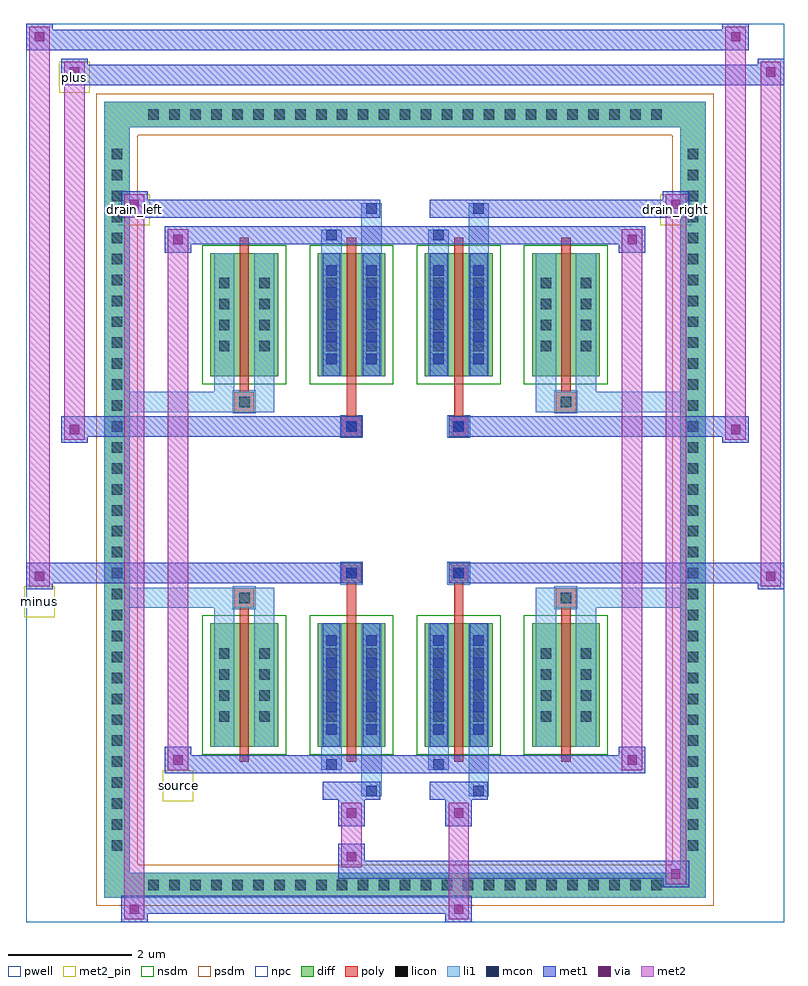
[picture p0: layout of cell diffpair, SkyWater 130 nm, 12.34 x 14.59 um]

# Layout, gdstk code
import gdstk
lib = gdstk.Library(unit=1e-6, precision=5e-09)
def R(c, l, rs):  # rectangles x0, y0, x1, y1
    for r in rs: c.add(gdstk.rectangle(r[:2], r[2:], *l))
def A(c, l, x, y, w, h, nx, ny, dx, dy):  # array of equal rectangles
    R(c, l, [(x+i*dx, y+j*dy, x+i*dx+w, y+j*dy+h) for i in range(nx) for j in range(ny)])
def P(c, l, *ps):  # polygons
    for p in ps: c.add(gdstk.Polygon(p, *l))
pwell = (64, 44)
diff = (65, 20)
poly = (66, 20)
licon = (66, 44)
li1 = (67, 20)
mcon = (67, 44)
met1 = (68, 20)
via = (68, 44)
met2_pin = (69, 16)
met2 = (69, 20)
nsdm = (93, 44)
psdm = (94, 20)
npc = (95, 20)

diffpair = lib.new_cell('diffpair')
R(diffpair, pwell, [(-6.15,-6.86,6.15,7.73), (-3.47,-5.05,-0.01,-0.825), (0.01,-5.05,3.47,-0.825), (-3.47,0.825,-0.01,5.05), (0.01,0.825,3.47,5.05)])
A(diffpair, diff, -4.285, -6.46, 0.41, 0.41, 25, 2, 0.34, 12.51)
A(diffpair, diff, -4.88, -5.815, 0.41, 0.41, 1, 34, 0, 0.34)
A(diffpair, diff, 4.47, -5.815, 0.41, 0.41, 1, 34, 0, 0.34)
A(diffpair, diff, -3.16, -4.005, 1.1, 2, 4, 2, 1.74, 6.01)
R(diffpair, diff, [(-4.285,-6.46,4.285,-6.05), (-4.88,-5.815,-4.47,5.815), (4.47,-5.815,4.88,5.815), (-4.285,6.05,4.285,6.46)])
P(diffpair, diff, [(4.88,6.46),(-4.88,6.46),(-4.88,-6.05),(-4.47,-6.05),(-4.47,6.05),(4.47,6.05),(4.47,-6.05),(-4.47,-6.05),(-4.88,-6.05),(-4.88,-6.46),(4.88,-6.46)])
A(diffpair, poly, -2.685, -4.255, 0.15, 2.5, 4, 2, 1.74, 6.01)
R(diffpair, poly, [(-2.775,-1.755,-2.445,-1.425), (-2.775,-1.755,-2.445,-1.425), (-0.945,-1.755,-0.795,-1.355), (0.795,-1.755,0.945,-1.355), (2.445,-1.755,2.775,-1.425), (2.445,-1.755,2.775,-1.425), (-1.035,-1.355,-0.705,-1.025), (-1.035,-1.355,-0.705,-1.025), (0.705,-1.355,1.035,-1.025), (0.705,-1.355,1.035,-1.025), (-1.035,1.025,-0.705,1.355), (-1.035,1.025,-0.705,1.355), (0.705,1.025,1.035,1.355), (0.705,1.025,1.035,1.355), (-0.945,1.355,-0.795,1.755), (0.795,1.355,0.945,1.755), (-2.775,1.425,-2.445,1.755), (-2.775,1.425,-2.445,1.755), (2.445,1.425,2.775,1.755), (2.445,1.425,2.775,1.755)])
A(diffpair, licon, -4.165, -6.34, 0.17, 0.17, 25, 2, 0.34, 12.51)
A(diffpair, licon, -4.76, -5.695, 0.17, 0.17, 1, 34, 0, 0.34)
A(diffpair, licon, 4.59, -5.695, 0.17, 0.17, 1, 34, 0, 0.34)
A(diffpair, licon, -3.02, -3.6, 0.17, 0.17, 1, 4, 0, 0.34)
A(diffpair, licon, -2.37, -3.6, 0.17, 0.17, 1, 4, 0, 0.34)
A(diffpair, licon, -1.28, -3.6, 0.17, 0.17, 1, 4, 0, 0.34)
A(diffpair, licon, -0.63, -3.6, 0.17, 0.17, 1, 4, 0, 0.34)
A(diffpair, licon, 0.46, -3.6, 0.17, 0.17, 1, 4, 0, 0.34)
A(diffpair, licon, 1.11, -3.6, 0.17, 0.17, 1, 4, 0, 0.34)
A(diffpair, licon, 2.2, -3.6, 0.17, 0.17, 1, 4, 0, 0.34)
A(diffpair, licon, 2.85, -3.6, 0.17, 0.17, 1, 4, 0, 0.34)
A(diffpair, licon, -3.02, 2.41, 0.17, 0.17, 1, 4, 0, 0.34)
A(diffpair, licon, -2.37, 2.41, 0.17, 0.17, 1, 4, 0, 0.34)
A(diffpair, licon, -1.28, 2.41, 0.17, 0.17, 1, 4, 0, 0.34)
A(diffpair, licon, -0.63, 2.41, 0.17, 0.17, 1, 4, 0, 0.34)
A(diffpair, licon, 0.46, 2.41, 0.17, 0.17, 1, 4, 0, 0.34)
A(diffpair, licon, 1.11, 2.41, 0.17, 0.17, 1, 4, 0, 0.34)
A(diffpair, licon, 2.2, 2.41, 0.17, 0.17, 1, 4, 0, 0.34)
A(diffpair, licon, 2.85, 2.41, 0.17, 0.17, 1, 4, 0, 0.34)
R(diffpair, licon, [(-2.695,-1.675,-2.525,-1.505), (2.525,-1.675,2.695,-1.505), (-0.955,-1.275,-0.785,-1.105), (0.785,-1.275,0.955,-1.105), (-0.955,1.105,-0.785,1.275), (0.785,1.105,0.955,1.275), (-2.695,1.505,-2.525,1.675), (2.525,1.505,2.695,1.675)])
A(diffpair, li1, -4.245, -6.42, 0.33, 0.33, 25, 2, 0.34, 12.51)
A(diffpair, li1, -4.84, -5.775, 0.33, 0.33, 1, 34, 0, 0.34)
A(diffpair, li1, 4.51, -5.775, 0.33, 0.33, 1, 34, 0, 0.34)
A(diffpair, li1, -1.28, -3.81, 0.17, 0.17, 1, 5, 0, 0.36)
A(diffpair, li1, -0.63, -3.81, 0.17, 0.17, 1, 5, 0, 0.36)
A(diffpair, li1, 0.46, -3.81, 0.17, 0.17, 1, 5, 0, 0.36)
A(diffpair, li1, 1.11, -3.81, 0.17, 0.17, 1, 5, 0, 0.36)
A(diffpair, li1, -3.1, -3.68, 0.33, 0.33, 1, 4, 0, 0.34)
A(diffpair, li1, -2.45, -3.68, 0.33, 0.33, 1, 4, 0, 0.34)
A(diffpair, li1, -1.36, -3.68, 0.33, 0.33, 1, 4, 0, 0.34)
A(diffpair, li1, -0.71, -3.68, 0.33, 0.33, 1, 4, 0, 0.34)
A(diffpair, li1, 0.38, -3.68, 0.33, 0.33, 1, 4, 0, 0.34)
A(diffpair, li1, 1.03, -3.68, 0.33, 0.33, 1, 4, 0, 0.34)
A(diffpair, li1, 2.12, -3.68, 0.33, 0.33, 1, 4, 0, 0.34)
A(diffpair, li1, 2.77, -3.68, 0.33, 0.33, 1, 4, 0, 0.34)
A(diffpair, li1, -1.28, 2.2, 0.17, 0.17, 1, 5, 0, 0.36)
A(diffpair, li1, -0.63, 2.2, 0.17, 0.17, 1, 5, 0, 0.36)
A(diffpair, li1, 0.46, 2.2, 0.17, 0.17, 1, 5, 0, 0.36)
A(diffpair, li1, 1.11, 2.2, 0.17, 0.17, 1, 5, 0, 0.36)
A(diffpair, li1, -3.1, 2.33, 0.33, 0.33, 1, 4, 0, 0.34)
A(diffpair, li1, -2.45, 2.33, 0.33, 0.33, 1, 4, 0, 0.34)
A(diffpair, li1, -1.36, 2.33, 0.33, 0.33, 1, 4, 0, 0.34)
A(diffpair, li1, -0.71, 2.33, 0.33, 0.33, 1, 4, 0, 0.34)
A(diffpair, li1, 0.38, 2.33, 0.33, 0.33, 1, 4, 0, 0.34)
A(diffpair, li1, 1.03, 2.33, 0.33, 0.33, 1, 4, 0, 0.34)
A(diffpair, li1, 2.12, 2.33, 0.33, 0.33, 1, 4, 0, 0.34)
A(diffpair, li1, 2.77, 2.33, 0.33, 0.33, 1, 4, 0, 0.34)
R(diffpair, li1, [(-4.88,-6.46,-4.47,-6.05), (-4.88,-6.46,-4.47,-6.05), (-4.47,-6.46,4.47,-6.05), (4.47,-6.46,4.88,-6.05), (4.47,-6.46,4.88,-6.05), (-4.88,-6.05,-4.47,6.05), (4.47,-6.05,4.88,6.05), (-0.71,-4.81,-0.38,-4.005), (-0.63,-4.81,-0.46,-4.64), (1.03,-4.81,1.36,-4.005), (1.11,-4.81,1.28,-4.64), (-1.36,-4.38,-1.03,-4.005), (-1.28,-4.38,-1.11,-4.21), (0.38,-4.38,0.71,-4.005), (0.46,-4.38,0.63,-4.21), (-3.1,-4.005,-2.77,-2.005), (-2.45,-4.005,-2.12,-2.005), (-1.36,-4.005,-1.03,-2.005), (-0.71,-4.005,-0.38,-2.005), (0.38,-4.005,0.71,-2.005), (1.03,-4.005,1.36,-2.005), (2.12,-4.005,2.45,-2.005), (2.77,-4.005,3.1,-2.005), (-1.28,-3.81,-1.11,-2.2), (-0.63,-3.81,-0.46,-2.2), (0.46,-3.81,0.63,-2.2), (1.11,-3.81,1.28,-2.2), (-3.1,-2.005,-2.77,-1.425), (-2.45,-2.005,-2.12,-1.425), (2.12,-2.005,2.45,-1.425), (2.77,-2.005,3.1,-1.425), (-4.88,-1.755,-2.775,-1.425), (-3.1,-1.755,-2.775,-1.425), (-2.775,-1.755,-2.445,-1.425), (-2.445,-1.755,-2.12,-1.425), (2.12,-1.755,2.445,-1.425), (2.445,-1.755,2.775,-1.425), (2.445,-1.755,4.88,-1.425), (2.775,-1.755,3.1,-1.425), (-1.035,-1.355,-0.705,-1.025), (0.705,-1.355,1.035,-1.025), (-1.035,1.025,-0.705,1.355), (0.705,1.025,1.035,1.355), (-4.88,1.425,-2.775,1.755), (-3.1,1.425,-2.775,1.755), (-3.1,1.425,-2.77,2.005), (-2.775,1.425,-2.445,1.755), (-2.45,1.425,-2.12,2.005), (-2.445,1.425,-2.12,1.755), (2.12,1.425,2.445,1.755), (2.12,1.425,2.45,2.005), (2.445,1.425,2.775,1.755), (2.445,1.425,4.88,1.755), (2.77,1.425,3.1,2.005), (2.775,1.425,3.1,1.755), (-3.1,2.005,-2.77,4.005), (-2.45,2.005,-2.12,4.005), (-1.36,2.005,-1.03,4.005), (-0.71,2.005,-0.38,4.005), (0.38,2.005,0.71,4.005), (1.03,2.005,1.36,4.005), (2.12,2.005,2.45,4.005), (2.77,2.005,3.1,4.005), (-1.28,2.2,-1.11,3.81), (-0.63,2.2,-0.46,3.81), (0.46,2.2,0.63,3.81), (1.11,2.2,1.28,3.81), (-1.36,4.005,-1.03,4.38), (-0.71,4.005,-0.38,4.81), (0.38,4.005,0.71,4.38), (1.03,4.005,1.36,4.81), (-1.28,4.21,-1.11,4.38), (0.46,4.21,0.63,4.38), (-0.63,4.64,-0.46,4.81), (1.11,4.64,1.28,4.81), (-4.88,6.05,-4.47,6.46), (-4.88,6.05,-4.47,6.46), (-4.47,6.05,4.47,6.46), (4.47,6.05,4.88,6.46), (4.47,6.05,4.88,6.46)])
A(diffpair, mcon, -1.28, -3.81, 0.17, 0.17, 1, 5, 0, 0.36)
A(diffpair, mcon, -0.63, -3.81, 0.17, 0.17, 1, 5, 0, 0.36)
A(diffpair, mcon, 0.46, -3.81, 0.17, 0.17, 1, 5, 0, 0.36)
A(diffpair, mcon, 1.11, -3.81, 0.17, 0.17, 1, 5, 0, 0.36)
A(diffpair, mcon, -1.28, 2.2, 0.17, 0.17, 1, 5, 0, 0.36)
A(diffpair, mcon, -0.63, 2.2, 0.17, 0.17, 1, 5, 0, 0.36)
A(diffpair, mcon, 0.46, 2.2, 0.17, 0.17, 1, 5, 0, 0.36)
A(diffpair, mcon, 1.11, 2.2, 0.17, 0.17, 1, 5, 0, 0.36)
R(diffpair, mcon, [(-0.63,-4.81,-0.46,-4.64), (1.11,-4.81,1.28,-4.64), (-1.28,-4.38,-1.11,-4.21), (0.46,-4.38,0.63,-4.21), (-0.955,-1.275,-0.785,-1.105), (0.785,-1.275,0.955,-1.105), (-0.955,1.105,-0.785,1.275), (0.785,1.105,0.955,1.275), (-1.28,4.21,-1.11,4.38), (0.46,4.21,0.63,4.38), (-0.63,4.64,-0.46,4.81), (1.11,4.64,1.28,4.81)])
A(diffpair, met1, -1.34, -3.87, 0.29, 0.29, 1, 5, 0, 0.36)
A(diffpair, met1, -0.69, -3.87, 0.29, 0.29, 1, 5, 0, 0.36)
A(diffpair, met1, 0.4, -3.87, 0.29, 0.29, 1, 5, 0, 0.36)
A(diffpair, met1, 1.05, -3.87, 0.29, 0.29, 1, 5, 0, 0.36)
A(diffpair, met1, -1.34, 2.14, 0.29, 0.29, 1, 5, 0, 0.36)
A(diffpair, met1, -0.69, 2.14, 0.29, 0.29, 1, 5, 0, 0.36)
A(diffpair, met1, 0.4, 2.14, 0.29, 0.29, 1, 5, 0, 0.36)
A(diffpair, met1, 1.05, 2.14, 0.29, 0.29, 1, 5, 0, 0.36)
R(diffpair, met1, [(-4.61,-6.86,-4.18,-6.43), (0.655,-6.86,1.085,-6.43), (-4.61,-6.72,1.085,-6.43), (4.18,-6.29,4.61,-5.86), (-1.085,-6.15,4.61,-5.86), (-1.085,-6.01,-0.655,-5.58), (-1.085,-5.3,-0.655,-4.87), (0.655,-5.3,1.085,-4.87), (-1.34,-4.87,-0.4,-4.58), (-0.69,-4.87,-0.4,-4.58), (0.4,-4.87,1.34,-4.58), (1.05,-4.87,1.34,-4.58), (-3.9,-4.44,-3.47,-4.01), (-3.9,-4.44,-1.34,-4.15), (-1.34,-4.44,-1.05,-4.15), (-1.34,-4.44,-0.4,-4.15), (-0.4,-4.44,0.4,-4.15), (0.4,-4.44,0.69,-4.15), (0.4,-4.44,1.34,-4.15), (1.34,-4.44,3.9,-4.15), (3.47,-4.44,3.9,-4.01), (-1.34,-4.005,-1.05,-2.005), (-0.69,-4.005,-0.4,-2.005), (0.4,-4.005,0.69,-2.005), (1.05,-4.005,1.34,-2.005), (-6.15,-1.455,-5.72,-1.025), (5.72,-1.455,6.15,-1.025), (-6.15,-1.355,-0.705,-1.025), (-1.035,-1.355,-0.705,-1.025), (0.705,-1.355,1.035,-1.025), (0.705,-1.355,6.15,-1.025), (-1.015,-1.335,-0.725,-1.045), (0.725,-1.335,1.015,-1.045), (-5.58,0.925,-5.15,1.355), (5.15,0.925,5.58,1.355), (-5.58,1.025,-1.035,1.355), (-1.035,1.025,-0.705,1.355), (0.705,1.025,1.035,1.355), (1.035,1.025,5.58,1.355), (-1.015,1.045,-0.725,1.335), (0.725,1.045,1.015,1.335), (-1.34,2.005,-1.05,4.005), (-0.69,2.005,-0.4,4.005), (0.4,2.005,0.69,4.005), (1.05,2.005,1.34,4.005), (-3.9,4.01,-3.47,4.44), (3.47,4.01,3.9,4.44), (-3.9,4.15,-1.34,4.44), (-1.34,4.15,-1.05,4.44), (-1.34,4.15,-0.4,4.44), (-0.4,4.15,0.4,4.44), (0.4,4.15,0.69,4.44), (0.4,4.15,1.34,4.44), (1.34,4.15,3.9,4.44), (-4.61,4.58,-4.18,5.01), (-4.61,4.58,-1.34,4.87), (-1.34,4.58,-0.4,4.87), (-0.69,4.58,-0.4,4.87), (0.4,4.58,1.34,4.87), (1.05,4.58,1.34,4.87), (1.34,4.58,4.61,4.87), (4.18,4.58,4.61,5.01), (-5.58,6.73,-5.15,7.16), (-5.58,6.73,-3.47,7.06), (-3.47,6.73,3.47,7.06), (3.47,6.73,6.15,7.06), (5.72,6.73,6.15,7.16), (-6.15,7.3,-5.72,7.73), (-6.15,7.3,-3.47,7.63), (-3.47,7.3,3.47,7.63), (3.47,7.3,5.58,7.63), (5.15,7.3,5.58,7.73)])
R(diffpair, via, [(-4.47,-6.72,-4.32,-6.57), (0.795,-6.72,0.945,-6.57), (4.32,-6.15,4.47,-6), (-0.945,-5.87,-0.795,-5.72), (-0.945,-5.16,-0.795,-5.01), (0.795,-5.16,0.945,-5.01), (-3.76,-4.3,-3.61,-4.15), (3.61,-4.3,3.76,-4.15), (-6.01,-1.315,-5.86,-1.165), (5.86,-1.315,6.01,-1.165), (-5.44,1.065,-5.29,1.215), (5.29,1.065,5.44,1.215), (-3.76,4.15,-3.61,4.3), (3.61,4.15,3.76,4.3), (-4.47,4.72,-4.32,4.87), (4.32,4.72,4.47,4.87), (-5.44,6.87,-5.29,7.02), (5.86,6.87,6.01,7.02), (-6.01,7.44,-5.86,7.59), (5.29,7.44,5.44,7.59)])
R(diffpair, met2_pin, [(-3.935,-4.89,-3.435,-4.39), (-6.185,-1.905,-5.685,-1.405), (-4.645,4.46,-4.145,4.96), (4.145,4.46,4.645,4.96), (-5.615,6.61,-5.115,7.11)])
R(diffpair, met2, [(-4.56,-6.81,-4.23,-6.48), (-4.56,-6.81,-4.23,4.96), (0.705,-6.81,1.035,-6.48), (0.705,-6.48,1.035,-5.25), (4.23,-6.24,4.56,-5.91), (4.23,-6.24,4.56,4.96), (-1.035,-5.96,-0.705,-5.63), (-1.035,-5.63,-0.705,-5.25), (-1.035,-5.25,-0.705,-4.92), (0.705,-5.25,1.035,-4.92), (-3.85,-4.39,-3.52,-4.06), (-3.85,-4.39,-3.52,4.39), (3.52,-4.39,3.85,-4.06), (3.52,-4.39,3.85,4.39), (-6.1,-1.405,-5.77,-1.075), (-6.1,-1.405,-5.77,7.68), (5.77,-1.405,6.1,-1.075), (5.77,-1.405,6.1,7.11), (-5.53,0.975,-5.2,1.305), (-5.53,0.975,-5.2,7.11), (5.2,0.975,5.53,1.305), (5.2,0.975,5.53,7.68), (-3.85,4.06,-3.52,4.39), (3.52,4.06,3.85,4.39), (-4.56,4.63,-4.23,4.96), (4.23,4.63,4.56,4.96), (-5.53,6.78,-5.2,7.11), (5.77,6.78,6.1,7.11), (-6.1,7.35,-5.77,7.68), (5.2,7.35,5.53,7.68)])
P(diffpair, met2, [(6.1,-1.405),(6.1,-1.405),(6.1,-1.075),(6.1,-1.075)],
  [(6.1,6.78),(6.1,6.78),(6.1,7.11),(6.1,7.11)],
  [(-5.77,-1.405),(-5.77,-1.405),(-5.77,-1.075),(-5.77,-1.075)],
  [(-5.77,7.35),(-5.77,7.35),(-5.77,7.68),(-5.77,7.68)],
  [(5.53,0.975),(5.53,0.975),(5.53,1.305),(5.53,1.305)],
  [(5.53,7.35),(5.53,7.35),(5.53,7.68),(5.53,7.68)],
  [(-5.2,0.975),(-5.2,0.975),(-5.2,1.305),(-5.2,1.305)],
  [(-5.2,6.78),(-5.2,6.78),(-5.2,7.11),(-5.2,7.11)],
  [(-4.23,-6.81),(-4.23,-6.81),(-4.23,-6.48),(-4.23,-6.48)],
  [(-4.23,4.63),(-4.23,4.63),(-4.23,4.96),(-4.23,4.96)],
  [(4.56,-6.24),(4.56,-6.24),(4.56,-5.91),(4.56,-5.91)],
  [(4.56,4.63),(4.56,4.63),(4.56,4.96),(4.56,4.96)],
  [(-3.52,-4.39),(-3.52,-4.39),(-3.52,-4.06),(-3.52,-4.06)],
  [(-3.52,4.06),(-3.52,4.06),(-3.52,4.39),(-3.52,4.39)],
  [(3.85,-4.39),(3.85,-4.39),(3.85,-4.06),(3.85,-4.06)],
  [(3.85,4.06),(3.85,4.06),(3.85,4.39),(3.85,4.39)])
A(diffpair, nsdm, -3.29, -4.135, 1.36, 2.26, 4, 2, 1.74, 6.01)
P(diffpair, psdm, [(5.01,6.59),(-5.01,6.59),(-5.01,-5.92),(-4.34,-5.92),(-4.34,5.92),(4.34,5.92),(4.34,-5.92),(-4.34,-5.92),(-5.01,-5.92),(-5.01,-6.59),(5.01,-6.59)])
R(diffpair, npc, [(-2.795,-1.775,-2.425,-1.405), (2.425,-1.775,2.795,-1.405), (-1.055,-1.375,-0.685,-1.005), (0.685,-1.375,1.055,-1.005), (-1.055,1.005,-0.685,1.375), (0.685,1.005,1.055,1.375), (-2.795,1.405,-2.425,1.775), (2.425,1.405,2.795,1.775)])
diffpair.add(gdstk.Label('minus', (-5.935,-1.655), layer=69, texttype=5))
diffpair.add(gdstk.Label('drain_right', (4.395,4.71), layer=69, texttype=5))
diffpair.add(gdstk.Label('drain_left', (-4.395,4.71), layer=69, texttype=5))
diffpair.add(gdstk.Label('source', (-3.685,-4.64), layer=69, texttype=5))
diffpair.add(gdstk.Label('plus', (-5.365,6.86), layer=69, texttype=5))

lib.write_gds('diffpair.gds')
